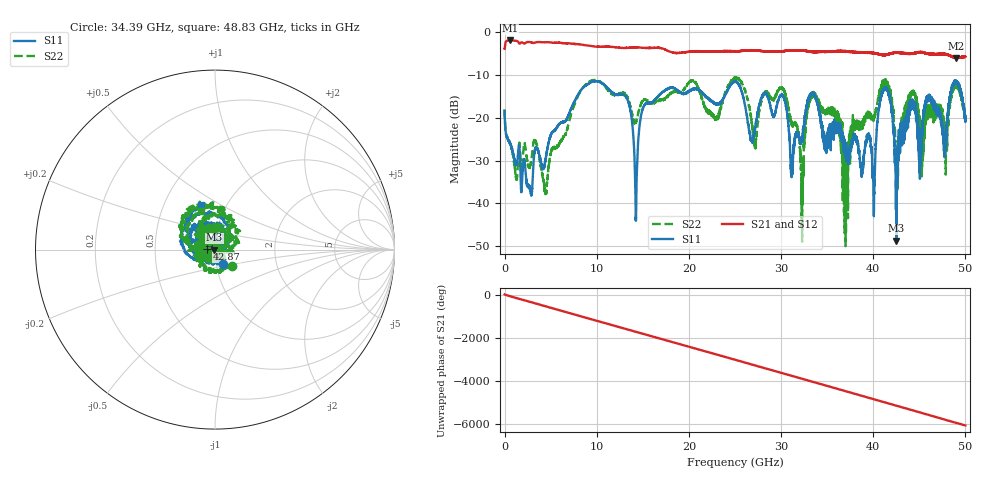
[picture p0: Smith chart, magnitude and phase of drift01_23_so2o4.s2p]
!Created with skrf (http://scikit-rf.org).
# Hz S RI R 50.0
!freq ReS11 ImS11 ReS21 ImS21 ReS12 ImS12 ReS22 ImS22
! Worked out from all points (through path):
!   10001 points, 300 kHz to 50 GHz, reference 50 ohm
!   highest |S21| = -2.00 dB at 575.3 MHz (marker M1); lowest = -6.1 dB at 48.98 GHz (marker M2)
!   group delay of S21, straight-line fit = 336 ps
!   lowest |S11| = -48.7 dB at 42.51 GHz (marker M3), VSWR 1.01, Z = 49.6 + j0.0011 ohm
!   |S11| at or under -10 dB: start of sweep to end of sweep
!   |S22| runs from -50.0 to -10.5 dB; largest |S21 - S12| = 0.02
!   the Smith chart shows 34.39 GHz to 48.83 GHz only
!   S11 on the Smith chart (normalised r, x): 34.39 GHz: 1.08, -0.17; 42.87 GHz: 0.91, +0.01; 48.83 GHz: 0.76, +0.41
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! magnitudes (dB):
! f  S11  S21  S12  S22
! 300 kHz  -18.4  -4.0  -4.1  -18.1
! 575.3 MHz  -26.0  -2.0  -2.0  -26.0
! 4.435 GHz  -29.9  -2.4  -2.4  -37.2
! 8.335 GHz  -13.5  -3.0  -3.0  -13.5
! 13.17 GHz  -15.1  -3.7  -3.8  -14.6
! 14.25 GHz  -43.2  -3.6  -3.6  -21.0
! 16.67 GHz  -14.9  -3.7  -3.7  -15.9
! 25 GHz  -11.6  -4.5  -4.5  -10.9
! 27.15 GHz  -22.6  -4.3  -4.3  -26.0
! 30.2 GHz  -15.1  -4.5  -4.5  -13.4
! 32.25 GHz  -25.0  -4.4  -4.3  -38.5
! 33.34 GHz  -14.2  -4.7  -4.6  -14.5
! 34.39 GHz  -21.0  -4.6  -4.6  -17.7
! 37.02 GHz  -27.3  -4.5  -4.6  -31.8
! 40.06 GHz  -42.6  -5.0  -5.0  -20.5
! 41.67 GHz  -14.4  -5.1  -5.1  -12.4
! 42.51 GHz  -48.7  -4.9  -4.9  -28.3
! 42.87 GHz  -26.8  -4.9  -4.9  -25.5
! 47.75 GHz  -27.3  -5.2  -5.3  -27.7
! 48.83 GHz  -11.7  -5.9  -6.0  -12.7
! 48.98 GHz  -11.6  -6.1  -6.0  -12.7
! 50 GHz  -20.1  -5.8  -5.8  -20.2
